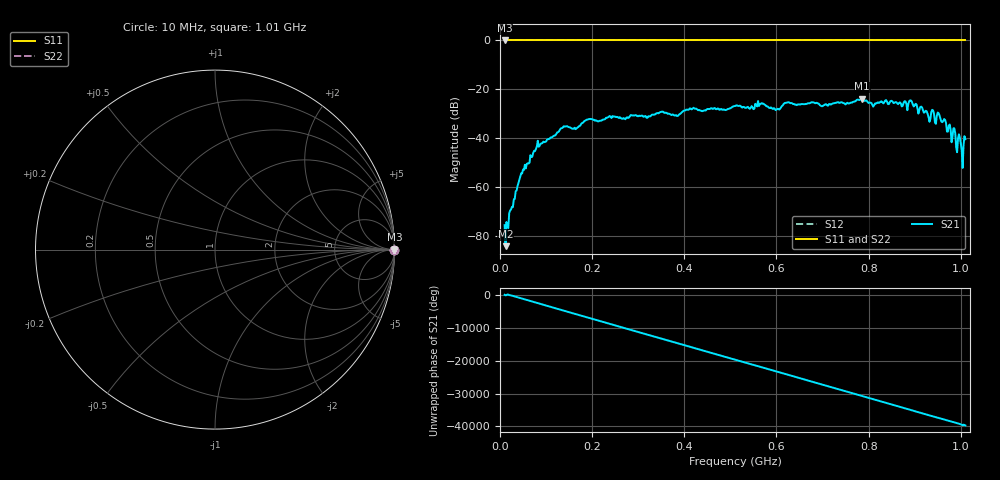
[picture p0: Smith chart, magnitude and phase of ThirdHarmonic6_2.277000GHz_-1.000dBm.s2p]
! 8/17/2025 2:55:37 AM
! C:\ANRITSUVNA\TEMP\TEMP.S2P
! CHANNEL.1
! TR.MEASUREMENT
! RAW.DATA
! RF.CORRECTION.OFF
! AVERAGING.OFF
! IF.BANDWIDTH: 5KHZ
! SWEEPTYPE:  FREQ.SWEEP(Linear)
! Reference Plane Port Info
! PORT:  PORT1  PORT2
! DISTANCE:  0  m  0  m
! TIME:  0  s  0  s
! PHASE.OFFSET:  0  deg.  0  deg.
! LOSS:  0  dB  0  dB
! REF.LOSS:  0  dB  0  dB
! REF.FREQ:  0  Hz  0  Hz
! Power Info
! POWER:  -20  dBm  -20  dBm
! EFF.POWER:  -20  dBm  -20  dBm
! SOURCE.ATTEN:  0  dB  0  dB
! TEST.ATTEN:  0  dB  0  dB
# GHZ S RI R 50.0
! FREQ.GHZ  S11RE  S11IM  S21RE  S21IM  S12RE  S12IM  S22RE  S22IM
!; PortSelection: Port_12
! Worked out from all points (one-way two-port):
!   501 points, 10 MHz to 1.01 GHz, reference 50 ohm
!   highest |S21| = -23.87 dB at 786 MHz (marker M1); lowest = -84.4 dB at 12 MHz (marker M2)
!   lowest |S11| = 0.0 dB at 10 MHz (marker M3)
!   |S11| at or under -10 dB: nowhere
!   |S22| runs from 0.0 to 0.0 dB; largest |S21 - S12| = 1.1
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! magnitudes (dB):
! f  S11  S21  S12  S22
! 10 MHz  0.0  -75.7  0.0  0.0
! 12 MHz  0.0  -84.4  0.0  0.0
! 46 MHz  0.0  -54.5  0.0  0.0
! 78 MHz  0.0  -44.5  0.0  0.0
! 136 MHz  0.0  -35.8  0.0  0.0
! 178 MHz  0.0  -33.9  0.0  0.0
! 344 MHz  0.0  -29.9  0.0  0.0
! 382 MHz  0.0  -30.6  0.0  0.0
! 416 MHz  0.0  -28.2  0.0  0.0
! 510 MHz  0.0  -26.9  0.0  0.0
! 570 MHz  0.0  -25.9  0.0  0.0
! 602 MHz  0.0  -28.0  0.0  0.0
! 622 MHz  0.0  -25.5  0.0  0.0
! 678 MHz  0.0  -25.4  0.0  0.0
! 786 MHz  0.0  -23.9  0.0  0.0
! 844 MHz  0.0  -26.1  0.0  0.0
! 892 MHz  0.0  -24.6  0.0  0.0
! 930 MHz  0.0  -31.4  0.0  0.0
! 952 MHz  0.0  -29.9  0.0  0.0
! 998 MHz  0.0  -39.8  0.0  0.0
! 1.002 GHz  0.0  -45.0  0.0  0.0
! 1.01 GHz  0.0  -40.5  0.0  0.0
